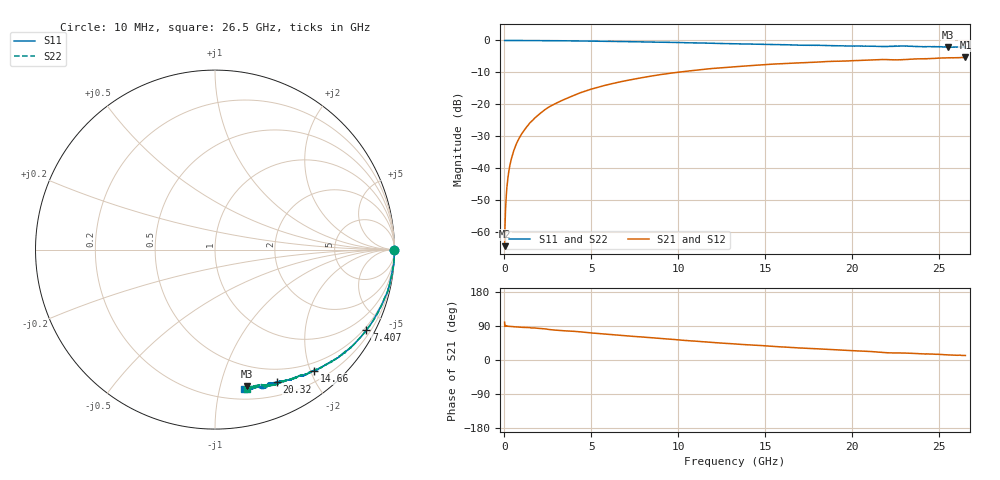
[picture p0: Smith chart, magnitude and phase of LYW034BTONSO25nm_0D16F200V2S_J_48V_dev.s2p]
!Keysight Technologies,N5222B,MY61253708,A.15.00.15
!Date: Wednesday, June 19, 2024 09:05:17
!Correction: S11(C  2-Port  )
!S21(C  2-Port  )
!S12(C  2-Port  )
!S22(C  2-Port  )
!S2P File: Measurements: S11, S21, S12, S22:
# Hz S  RI  R 50
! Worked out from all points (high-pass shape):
!   2651 points, 10 MHz to 26.5 GHz, reference 50 ohm
!   highest |S21| = -5.29 dB at 26.5 GHz (marker M1); lowest = -64.6 dB at 20 MHz (marker M2)
!   |S21| within 3 dB of the highest: 13.11 GHz to end of sweep
!   lowest |S11| = -2.1 dB at 25.5 GHz (marker M3), VSWR 8.13, Z = 15.6 - j60.8 ohm
!   |S11| at or under -10 dB: nowhere
!   |S22| runs from -2.1 to 0.0 dB; largest |S21 - S12| = 0.0075
!   S11 on the Smith chart (normalised r, x): 10 MHz: open; 7.407 GHz: 0.39, -3.97; 14.66 GHz: 0.36, -2.06; 20.32 GHz: 0.34, -1.51; 26.5 GHz: 0.29, -1.19
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1e7  0.9987 -0.00195  -0.00018 0.00104  -0.000104 0.000132  0.9988 -0.00104
1.999623e7  0.9989 -0.00192  9.99e-07 0.000591  0.000112 0.000691  0.9993 -0.00213
1.499472e8  0.9998 -0.0113  7.99e-05 0.00521  4.99e-05 0.00525  0.9995 -0.0105
1.899321e8  1 -0.0133  7.67e-05 0.00662  9.06e-05 0.00669  0.9998 -0.0124
2.399132e8  0.9993 -0.0172  0.000153 0.00836  0.000131 0.0084  0.9991 -0.0163
3.398755e8  0.9992 -0.0239  0.000319 0.0118  0.000311 0.0119  0.9992 -0.0229
4.698264e8  0.9988 -0.0333  0.000547 0.0163  0.000524 0.0164  0.9984 -0.0321
6.197698e8  0.9987 -0.0433  0.000966 0.0215  0.000945 0.0217  0.9986 -0.0425
8.096981e8  0.9978 -0.0563  0.00157 0.0279  0.00157 0.0281  0.9973 -0.0551
1.43946e9  0.9897 -0.1007  0.00388 0.0498  0.00392 0.05  0.9923 -0.0969
2.329125e9  0.9799 -0.1572  0.0111 0.0813  0.0113 0.0818  0.9813 -0.1571
3.138819e9  0.9679 -0.2106  0.0224 0.1064  0.0225 0.1071  0.969 -0.2085
4.428332e9  0.9372 -0.2896  0.0422 0.1474  0.0426 0.1483  0.9393 -0.2859
7.407208e9  0.8433 -0.4491  0.1138 0.218  0.1152 0.2189  0.846 -0.4462
8.846664e9  0.788 -0.5124  0.1554 0.242  0.1568 0.2427  0.7908 -0.5096
1.3255e10  0.606 -0.6476  0.2866 0.2612  0.2886 0.2612  0.6114 -0.6454
1.466447e10  0.5521 -0.6753  0.3229 0.2555  0.325 0.2553  0.5567 -0.6719
1.767333e10  0.4307 -0.7201  0.3921 0.2278  0.3954 0.2266  0.4438 -0.7178
2.032233e10  0.3446 -0.7385  0.443 0.1982  0.445 0.1949  0.3607 -0.7393
2.209166e10  0.2969 -0.7468  0.4721 0.162  0.4737 0.16  0.2935 -0.7538
2.550038e10  0.1797 -0.76  0.5188 0.1231  0.5203 0.1241  0.2023 -0.7654
2.65e10  0.1616 -0.7748  0.532 0.1123  0.5312 0.1094  0.1764 -0.7751
